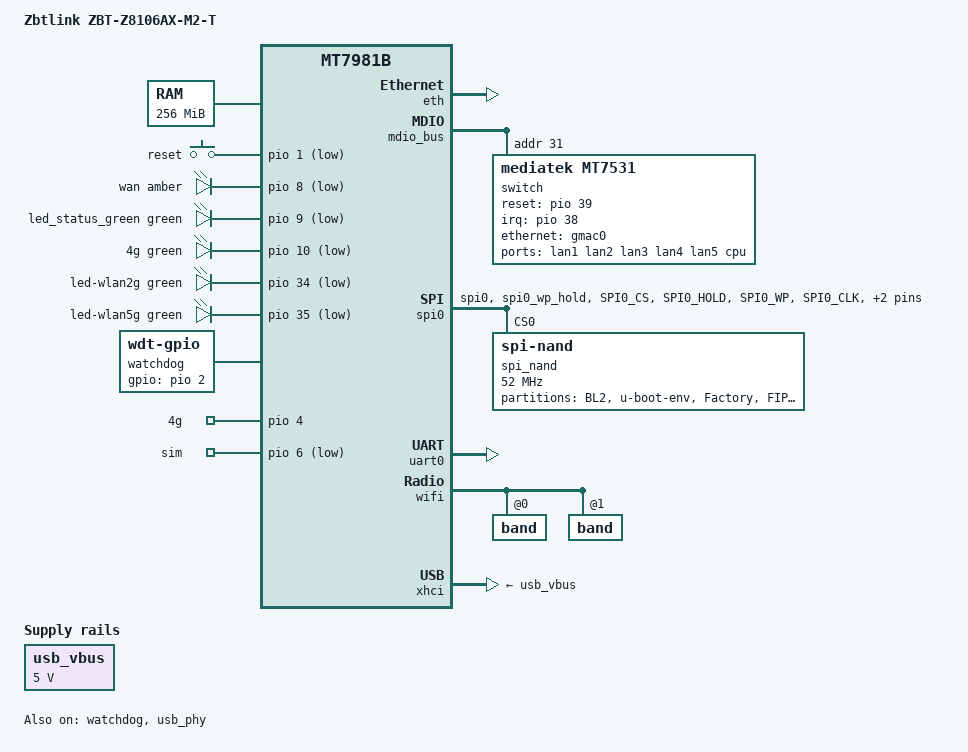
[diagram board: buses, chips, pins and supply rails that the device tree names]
// SPDX-License-Identifier: GPL-2.0-or-later OR MIT 

/dts-v1/;

#include <dt-bindings/gpio/gpio.h>
#include <dt-bindings/input/input.h>

/* #include "mt7981.dtsi" */  /* for Release 24.10 only */

#include "mt7981b.dtsi" 

/ {
	model = "Zbtlink ZBT-Z8106AX-M2-T";
	compatible = "zbtlink,zbt-z8106ax-m2-t", "mediatek,mt7981b";

	aliases {
		serial0 = &uart0;
		led-boot = &led_status_green;
		led-failsafe = &led_status_green;
		led-running = &led_status_green;
		led-upgrade = &led_status_green;
		label-mac-device = &gmac1;
	};

	chosen {
		stdout-path = "serial0:115200n8";
		bootargs = "earlycon=uart8250,mmio32,0x11002000 console=ttyS0,115200n8";
	};

	memory@40000000 {
		reg = <0 0x40000000 0 0x10000000>;
		device_type = "memory";
	};

	gpio-keys {
		compatible = "gpio-keys";

		button-reset {
			label = "reset";
			linux,code = <KEY_RESTART>;
			gpios = <&pio 1 GPIO_ACTIVE_LOW>;
		};
	};

	leds {
		compatible = "gpio-leds";

		wan {
			color = <LED_COLOR_ID_AMBER>;
			function = LED_FUNCTION_WAN;
			gpios = <&pio 8 GPIO_ACTIVE_LOW>;
			linux,default-trigger = "eth1";
		};

		led_status_green: pwr { 
			color = <LED_COLOR_ID_GREEN>;
			function = LED_FUNCTION_STATUS;
			gpios = <&pio 9 GPIO_ACTIVE_LOW>;
		};

		4g {
			color = <LED_COLOR_ID_GREEN>;
			function = LED_FUNCTION_MOBILE;
			gpios = <&pio 10 GPIO_ACTIVE_LOW>;
		};

		led-wlan2g {
			color = <LED_COLOR_ID_GREEN>;
			function = LED_FUNCTION_WLAN_2GHZ;
			gpios = <&pio 34 GPIO_ACTIVE_LOW>;
			function-enumerator = <0>;
			linux,default-trigger = "phy0tpt";
		};

		led-wlan5g {
			color = <LED_COLOR_ID_GREEN>;
			function = LED_FUNCTION_WLAN_5GHZ;
			gpios = <&pio 35 GPIO_ACTIVE_LOW>;
			function-enumerator = <1>;
			linux,default-trigger = "phy1tpt";
		};
	};

	usb_vbus: regulator-usb {
		compatible = "regulator-fixed";
		regulator-name = "usb-vbus";
		regulator-min-microvolt = <5000000>;
		regulator-max-microvolt = <5000000>;
		regulator-boot-on;
		regulator-always-on;
	};
	
	watchdog {
		compatible = "linux,wdt-gpio";
		gpios = <&pio 2 GPIO_ACTIVE_HIGH>;
		hw_algo = "toggle";
		hw_margin_ms = <1000>;
	};

	gpio-export {
		compatible = "gpio-export";

		4g {
			gpio-export,name = "4g";
			gpio-export,output = <1>;
			gpios = <&pio 4 GPIO_ACTIVE_HIGH>;
		};

		sim {
			gpio-export,name = "sim";
			gpio-export,output = <1>;
			gpios = <&pio 6 GPIO_ACTIVE_LOW>;
		};

	};
};

&eth {
	status = "okay";

	gmac0: mac@0 {
		/* LAN */
		compatible = "mediatek,eth-mac";
		reg = <0>;
		phy-mode = "2500base-x";

		nvmem-cell-names = "mac-address";
		nvmem-cells = <&macaddr_factory_4 0>;

		fixed-link {
			speed = <2500>;
			full-duplex;
			pause;
		};
	};

	gmac1: mac@1 {
		/* WAN */
		compatible = "mediatek,eth-mac";
		reg = <1>;
		phy-mode = "gmii";
		phy-handle = <&int_gbe_phy>;

		nvmem-cell-names = "mac-address";
		nvmem-cells = <&macaddr_factory_2a 0>;
	};
};

&mdio_bus {
	switch: switch@1f {
		compatible = "mediatek,mt7531";
		reg = <31>;
		reset-gpios = <&pio 39 GPIO_ACTIVE_HIGH>;
		interrupt-controller;
		#interrupt-cells = <1>;
		interrupt-parent = <&pio>;
		interrupts = <38 IRQ_TYPE_LEVEL_HIGH>;
	};
};

&switch {
	ports {
		#address-cells = <1>;
		#size-cells = <0>;

		port@0 {
			reg = <0>;
			label = "lan1";
			nvmem-cell-names = "mac-address";
			nvmem-cells = <&macaddr_factory_4 0>;
		};

		port@1 {
			reg = <1>;
			label = "lan2";
			nvmem-cell-names = "mac-address";
			nvmem-cells = <&macaddr_factory_4 1>;
		};

		port@2 {
			reg = <2>;
			label = "lan3";
			nvmem-cell-names = "mac-address";
			nvmem-cells = <&macaddr_factory_4 2>;
		};

        port@3 {
            reg = <3>;
            label = "lan4";
			nvmem-cell-names = "mac-address";
			nvmem-cells = <&macaddr_factory_4 3>;
        };

		port@4 {
			reg = <4>;
			label = "lan5";
			nvmem-cell-names = "mac-address";
			nvmem-cells = <&macaddr_factory_24 4>;
		};
     
		port@6 {
			reg = <6>;
			label = "cpu";
			ethernet = <&gmac0>;
			phy-mode = "2500base-x";

			fixed-link {
				speed = <2500>;
				full-duplex;
				pause;
			};
		};
	};
};

&spi0 {
	pinctrl-names = "default";
	pinctrl-0 = <&spi0_flash_pins>;
	status = "okay";

	spi_nand@0 {
		compatible = "spi-nand";
		reg = <0>;

		spi-max-frequency = <52000000>;
		spi-tx-bus-width = <4>;
		spi-rx-bus-width = <4>;

		partitions {
			compatible = "fixed-partitions";
			#address-cells = <1>;
			#size-cells = <1>;

			partition@0 {
				label = "BL2";
				reg = <0x0000000 0x0100000>;
				read-only;
			};

			partition@100000 {
				label = "u-boot-env";
				reg = <0x100000 0x80000>;
			};

			factory: partition@180000 {
				label = "Factory";
				reg = <0x180000 0x200000>;
				read-only;
			};
	
			partition@380000 {
				label = "FIP";
				reg = <0x380000 0x200000>;
				read-only;
			};

			nand_rootfs: partition@580000 {
				label = "ubi";
				reg = <0x580000 0x7280000>;
			};
		};
	};
};

&pio {
	spi0_flash_pins: spi0-pins {
		mux {
			function = "spi";
			groups = "spi0", "spi0_wp_hold";
		};

		conf-pu {
			pins = "SPI0_CS", "SPI0_HOLD", "SPI0_WP";
			drive-strength = <MTK_DRIVE_8mA>;
			bias-pull-up = <MTK_PUPD_SET_R1R0_11>;
		};

		conf-pd {
			pins = "SPI0_CLK", "SPI0_MOSI", "SPI0_MISO";
			drive-strength = <MTK_DRIVE_8mA>;
			bias-pull-down = <MTK_PUPD_SET_R1R0_11>;
		};
	};
};

&uart0 {
	status = "okay";
};

&watchdog {
	status = "okay";
};

&wifi {
/*	compatible = "mediatek,mt76"; */
	status = "okay";
	#address-cells = <1>;
	#size-cells = <0>;
	nvmem-cells = <&eeprom_factory>;
	nvmem-cell-names = "eeprom";

	band@0 {
		reg = <0>;
		nvmem-cells = <&macaddr_factory_4 0>;
		nvmem-cell-names = "mac-address";
	};

	band@1 {
		reg = <1>;
		nvmem-cells = <&macaddr_factory_a 1>;
		nvmem-cell-names = "mac-address";
	}; 
};

&usb_phy {
	status = "okay";
};

&xhci {
	status = "okay";
	vbus-supply = <&usb_vbus>;
};

&factory {
	compatible = "nvmem-cells";
	#address-cells = <1>;
	#size-cells = <1>;

	macaddr_factory_4: macaddr@4 {
		reg = <0x4 0x6>;
		compatible = "mac-base";
		#nvmem-cell-cells = <1>;
	};

	macaddr_factory_a: macaddr@a {
		reg = <0xa 0x6>;
		compatible = "mac-base";
		#nvmem-cell-cells = <1>;
	};

	macaddr_factory_24: macaddr@24 {
		reg = <0x24 0x6>;
		compatible = "mac-base";
		#nvmem-cell-cells = <1>;
	};

	macaddr_factory_2a: macaddr@2a {
		reg = <0x2a 0x6>;
		compatible = "mac-base";
		#nvmem-cell-cells = <1>;
	};
	
    eeprom_factory: eeprom@0 {
		reg = <0x0 0x1000>;
	};
};
